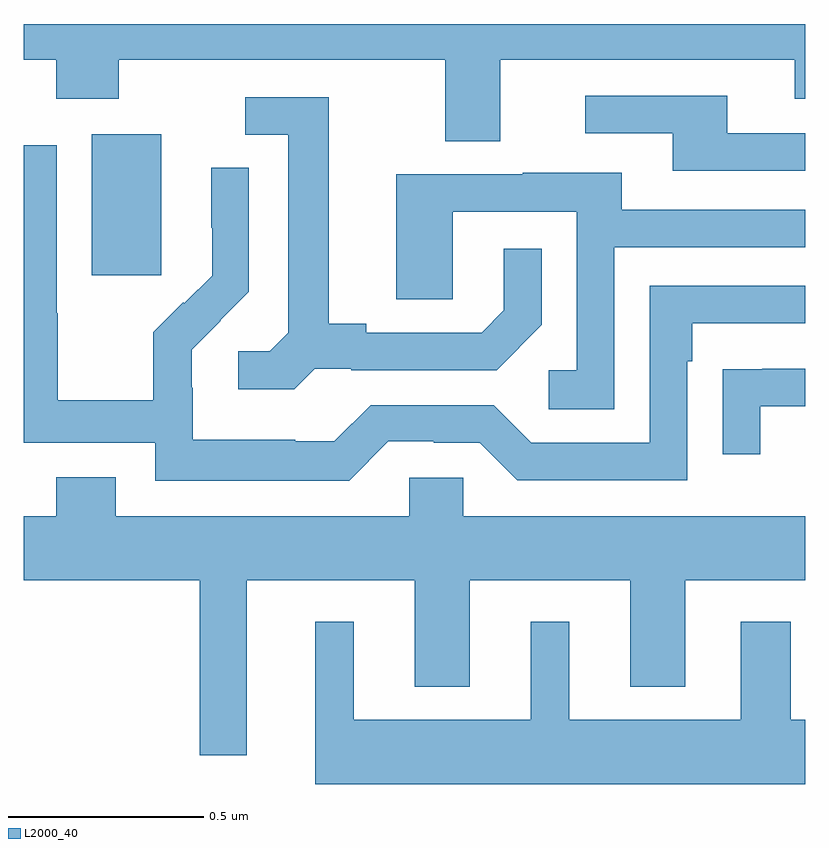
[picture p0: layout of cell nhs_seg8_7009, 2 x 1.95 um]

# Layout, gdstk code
import gdstk
lib = gdstk.Library(unit=1e-6, precision=1e-09)
def R(c, l, rs):  # rectangles x0, y0, x1, y1
    for r in rs: c.add(gdstk.rectangle(r[:2], r[2:], *l))
def P(c, l, *ps):  # polygons
    for p in ps: c.add(gdstk.Polygon(p, *l))
L2000_40 = (2000, 40)

nhs_seg8_7009 = lib.new_cell('nhs_seg8_7009')
R(nhs_seg8_7009, L2000_40, [(204.173,1141.257,204.352,1141.618)])
P(nhs_seg8_7009, L2000_40, [(205.219,1141.808),(205.973,1141.808),(205.973,1141.709),(206,1141.709),(206,1141.9),(204,1141.9),(204,1141.808),(204.083,1141.808),(204.083,1141.709),(204.243,1141.709),(204.243,1141.808),(205.079,1141.808),(205.079,1141.6),(205.219,1141.6)],
  [(206,1141.62),(205.801,1141.62),(205.801,1141.716),(205.437,1141.716),(205.437,1141.62),(205.661,1141.62),(205.661,1141.524),(206,1141.524)],
  [(204.744,1141.017),(204.838,1141.017),(204.838,1141.014),(205.21,1141.014),(205.326,1141.13),(205.326,1141.324),(205.229,1141.324),(205.229,1141.167),(205.172,1141.11),(204.877,1141.11),(204.877,1141.133),(204.781,1141.133),(204.781,1141.713),(204.567,1141.713),(204.567,1141.617),(204.677,1141.617),(204.677,1141.109),(204.63,1141.062),(204.549,1141.062),(204.549,1140.965),(204.692,1140.965)],
  [(204.933,1140.831),(205.049,1140.831),(205.049,1140.828),(205.167,1140.828),(205.263,1140.732),(205.698,1140.732),(205.698,1141.037),(205.711,1141.037),(205.711,1141.134),(206,1141.134),(206,1141.23),(205.602,1141.23),(205.602,1140.828),(205.299,1140.828),(205.203,1140.924),(204.888,1140.924),(204.795,1140.831),(204.695,1140.831),(204.695,1140.835),(204.432,1140.835),(204.432,1140.969),(204.43,1140.969),(204.43,1141.066),(204.504,1141.14),(204.503,1141.141),(204.576,1141.214),(204.576,1141.532),(204.48,1141.532),(204.48,1141.378),(204.482,1141.378),(204.482,1141.256),(204.411,1141.185),(204.408,1141.188),(204.331,1141.111),(204.331,1140.937),(204.087,1140.937),(204.087,1141.16),(204.084,1141.16),(204.084,1141.59),(204,1141.59),(204,1140.828),(204.336,1140.828),(204.336,1140.731),(204.833,1140.731)],
  [(205.512,1141.329),(206,1141.329),(206,1141.425),(205.531,1141.425),(205.531,1141.519),(205.277,1141.519),(205.277,1141.515),(204.953,1141.515),(204.953,1141.195),(205.098,1141.195),(205.098,1141.419),(205.416,1141.419),(205.416,1141.014),(205.344,1141.014),(205.344,1140.913),(205.512,1140.913)],
  [(205.885,1140.921),(206,1140.921),(206,1141.017),(205.891,1141.017),(205.891,1141.016),(205.789,1141.016),(205.789,1140.798),(205.885,1140.798)],
  [(204.571,1140.476),(205.001,1140.476),(205.001,1140.203),(205.141,1140.203),(205.141,1140.476),(205.553,1140.476),(205.553,1140.203),(205.693,1140.203),(205.693,1140.476),(206,1140.476),(206,1140.64),(205.125,1140.64),(205.125,1140.738),(204.987,1140.738),(204.987,1140.64),(204.235,1140.64),(204.235,1140.739),(204.083,1140.739),(204.083,1140.64),(204,1140.64),(204,1140.476),(204.45,1140.476),(204.45,1140.027),(204.571,1140.027)],
  [(206,1140.118),(205.963,1140.118),(205.963,1140.37),(205.835,1140.37),(205.835,1140.118),(205.396,1140.118),(205.396,1140.37),(205.298,1140.37),(205.298,1140.118),(204.844,1140.118),(204.844,1140.37),(204.746,1140.37),(204.746,1139.954),(206,1139.954)])

lib.write_gds('nhs_seg8_7009.gds')
